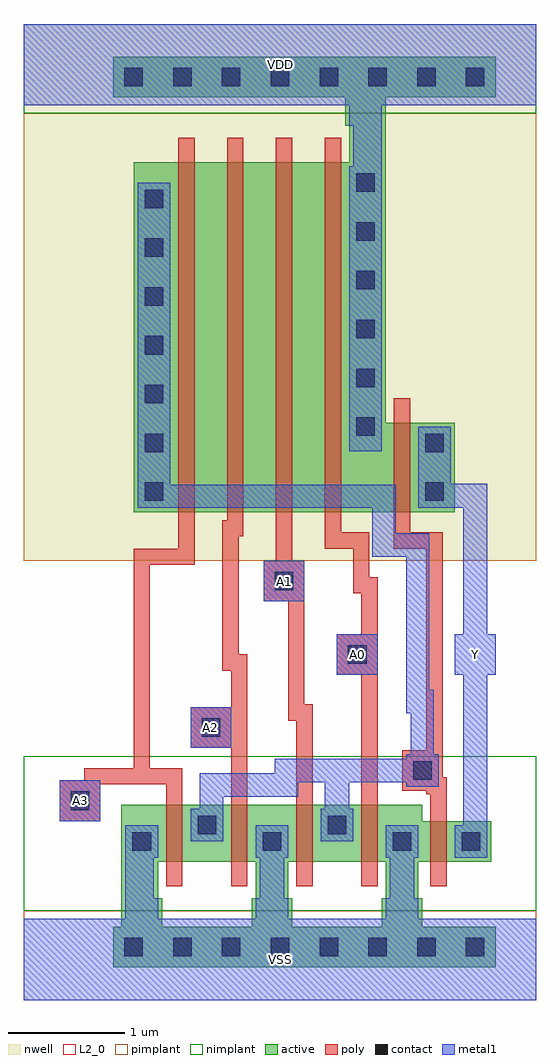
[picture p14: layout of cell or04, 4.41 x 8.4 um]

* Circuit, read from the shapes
.subckt or04 A0 A1 A2 A3 VDD VSS Y
M1 n1 A3 VSS VSS nfet w=0.49u l=0.14u
M2 VSS A2 n1 VSS nfet w=0.49u l=0.14u
M3 n1 A1 VSS VSS nfet w=0.49u l=0.14u
M4 VSS A0 n1 VSS nfet w=0.49u l=0.14u
M5 Y n1 VSS VSS nfet w=0.35u l=0.14u
M6 n2 A3 n1 VDD pfet w=3.01u l=0.14u
M7 n3 A2 n2 VDD pfet w=3.01u l=0.14u
M8 n4 A1 n3 VDD pfet w=3.01u l=0.14u
M9 VDD A0 n4 VDD pfet w=3.01u l=0.14u
M10 Y n1 VDD VDD pfet w=0.77u l=0.14u
.ends

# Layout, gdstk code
from math import pi, radians
import gdstk
lib = gdstk.Library(unit=1e-6, precision=1e-09)
def R(c, l, rs):  # rectangles x0, y0, x1, y1
    for r in rs: c.add(gdstk.rectangle(r[:2], r[2:], *l))
def A(c, l, x, y, w, h, nx, ny, dx, dy):  # array of equal rectangles
    R(c, l, [(x+i*dx, y+j*dy, x+i*dx+w, y+j*dy+h) for i in range(nx) for j in range(ny)])
def P(c, l, *ps):  # polygons
    for p in ps: c.add(gdstk.Polygon(p, *l))
L2_0 = (2, 0)
nwell = (3, 0)
active = (6, 0)
poly = (17, 0)
pimplant = (25, 0)
nimplant = (26, 0)
contact = (30, 0)
metal1 = (31, 0)

adk_poly_m1 = lib.new_cell('ADK_poly_m1')
R(adk_poly_m1, poly, [(-0.175,-0.175,0.175,0.175)])
R(adk_poly_m1, contact, [(-0.08,-0.08,0.08,0.08)])
R(adk_poly_m1, metal1, [(-0.175,-0.175,0.175,0.175)])

or04 = lib.new_cell('or04')
R(or04, L2_0, [(0,0,4.41,2.1)])
R(or04, nwell, [(0,4.55,4.41,8.4)])
P(or04, nwell, [(0,3.78),(4.41,3.78),(4.41,5.39),(3.535,5.39),(3.535,7.63),(0,7.63)])
A(or04, active, 0.84, 0.63, 0.35, 0.245, 3, 1, 1.12, 0)
R(or04, active, [(0.77,0.28,4.06,0.63), (0.84,0.875,1.155,1.19), (1.995,0.875,2.275,1.19), (3.115,0.875,3.395,1.19), (0.84,1.19,1.225,1.68), (3.64,1.19,4.025,1.54), (0.945,4.2,1.33,7.21), (3.325,4.2,3.71,4.97), (2.8,7.21,3.115,7.525), (2.765,7.525,3.115,7.77), (0.77,7.77,4.06,8.12)])
P(or04, active, [(3.71,4.2),(3.71,4.97),(3.115,4.97),(3.115,7.21),(0.945,7.21),(0.945,4.2)],
  [(4.025,1.19),(4.025,1.54),(3.43,1.54),(3.43,1.68),(0.84,1.68),(0.84,1.19)])
A(or04, poly, 1.225, 0.98, 0.14, 0.21, 4, 2, 0.56, 0.7)
A(or04, poly, 1.225, 1.19, 0.14, 0.49, 4, 1, 0.56, 0)
A(or04, poly, 1.33, 3.99, 0.14, 0.21, 4, 2, 0.42, 3.22)
A(or04, poly, 1.33, 4.2, 0.14, 3.01, 4, 1, 0.42, 0)
R(or04, poly, [(3.5,0.98,3.64,1.19), (3.5,1.19,3.64,1.54), (3.5,1.54,3.64,1.75), (3.5,1.715,3.64,1.915), (3.255,1.8,3.605,2.15), (2.905,1.855,3.045,2.8), (3.185,3.99,3.325,4.2), (3.185,4.2,3.325,4.97), (3.185,4.97,3.325,5.18)])
P(or04, poly, [(0.945,1.855),(1.365,1.855),(1.365,1.995),(1.085,1.995),(1.085,2.8),(0.945,2.8)],
  [(2.59,3.885),(2.835,3.885),(2.835,3.5),(2.905,3.5),(2.905,3.15),(3.045,3.15),(3.045,3.64),(2.975,3.64),(2.975,4.025),(2.59,4.025)],
  [(0.945,2.66),(1.085,2.66),(1.085,3.745),(1.47,3.745),(1.47,4.13),(1.33,4.13),(1.33,3.885),(0.945,3.885)],
  [(0.52,1.645),(0.66,1.645),(0.66,1.855),(1.085,1.855),(1.085,1.995),(0.52,1.995)],
  [(2.275,2.405),(2.345,2.405),(2.345,1.75),(2.485,1.75),(2.485,2.545),(2.415,2.545),(2.415,3.29),(2.275,3.29)],
  [(1.71,2.835),(1.785,2.835),(1.785,1.75),(1.925,1.75),(1.925,2.975),(1.85,2.975),(1.85,4.13),(1.71,4.13)],
  [(3.185,3.885),(3.465,3.885),(3.465,1.77),(3.605,1.77),(3.605,4.025),(3.185,4.025)],
  [(2.17,3.5),(2.275,3.5),(2.275,3.15),(2.415,3.15),(2.415,3.64),(2.31,3.64),(2.31,4.025),(2.17,4.025)])
R(or04, pimplant, [(0,0,4.41,0.77), (0,3.78,4.41,7.63)])
R(or04, nimplant, [(0,0.77,4.41,2.1), (0,7.63,4.41,8.4)])
A(or04, contact, 0.865, 0.375, 0.16, 0.16, 8, 2, 0.42, 7.49)
A(or04, contact, 0.935, 1.285, 0.16, 0.16, 3, 1, 1.12, 0)
A(or04, contact, 1.04, 4.295, 0.16, 0.16, 1, 7, 0, 0.42)
A(or04, contact, 2.86, 4.855, 0.16, 0.16, 1, 6, 0, 0.42)
R(or04, contact, [(3.77,1.285,3.93,1.445), (1.495,1.425,1.655,1.585), (2.615,1.425,2.775,1.585), (3.35,1.895,3.51,2.055), (3.455,4.295,3.615,4.455), (3.455,4.715,3.615,4.875)])
A(or04, metal1, 0.875, 0.7, 0.28, 0.175, 3, 1, 1.12, 0)
A(or04, metal1, 0.875, 1.225, 0.28, 0.28, 3, 1, 1.12, 0)
R(or04, metal1, [(0,0,4.41,0.7), (0.875,0.875,1.12,1.225), (2.03,0.875,2.24,1.225), (3.15,0.875,3.36,1.225), (3.71,1.225,3.99,1.505), (1.435,1.365,1.715,1.645), (2.555,1.365,2.835,1.645), (3.78,1.5,3.99,2.8), (0.31,1.54,0.66,1.89), (2.59,1.645,2.8,1.875), (3.29,1.835,3.57,2.115), (1.435,2.17,1.785,2.52), (2.695,2.8,3.045,3.15), (3.71,2.8,4.06,3.15), (3.71,2.8,4.06,3.15), (2.065,3.43,2.415,3.78), (0.98,4.235,1.26,7.035), (3.395,4.235,3.675,4.935), (2.8,4.725,3.08,7.175), (2.835,7.175,3.08,7.525), (2.8,7.525,3.08,7.7), (0,7.7,4.41,8.4)])
P(or04, metal1, [(1.06,4.235),(3,4.235),(3,3.815),(3.29,3.815),(3.29,2.47),(3.33,2.47),(3.33,1.915),(3.53,1.915),(3.53,2.67),(3.49,2.67),(3.49,4.015),(3.2,4.015),(3.2,4.435),(1.06,4.435)],
  [(1.515,1.445),(1.715,1.445),(1.715,1.75),(2.36,1.75),(2.36,1.875),(3.49,1.875),(3.49,2.075),(2.16,2.075),(2.16,1.95),(1.515,1.95)],
  [(3.675,4.235),(3.78,4.235),(3.78,2.975),(3.99,2.975),(3.99,4.445),(3.675,4.445)])
or04.add(gdstk.Reference(adk_poly_m1, (2.24,3.605), rotation=pi, x_reflection=True))
or04.add(gdstk.Reference(adk_poly_m1, (2.87,2.975), rotation=pi, x_reflection=True))
or04.add(gdstk.Reference(adk_poly_m1, (1.61,2.345), rotation=pi, x_reflection=True))
or04.add(gdstk.Reference(adk_poly_m1, (0.485,1.715), rotation=pi, x_reflection=True))
or04.add(gdstk.Label('A1', (2.24,3.605), layer=131, texttype=0))
or04.add(gdstk.Label('VSS', (2.205,0.35), layer=131, texttype=0))
or04.add(gdstk.Label('VDD', (2.205,8.05), layer=131, texttype=0))
or04.add(gdstk.Label('A2', (1.61,2.345), layer=131, texttype=0))
or04.add(gdstk.Label('Y', (3.885,2.975), layer=131, texttype=0))
or04.add(gdstk.Label('A0', (2.87,2.975), layer=131, texttype=0))
or04.add(gdstk.Label('A3', (0.485,1.715), layer=131, texttype=0))

lib.write_gds('or04.gds')
